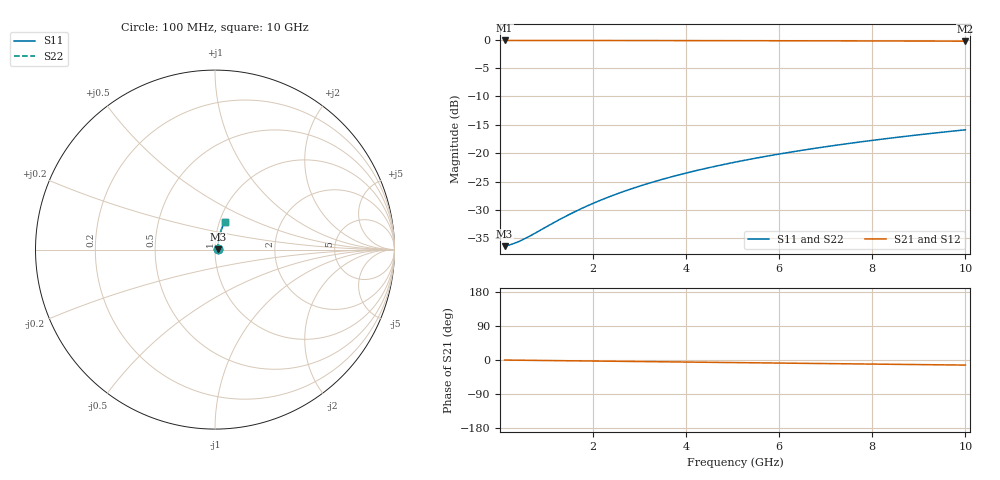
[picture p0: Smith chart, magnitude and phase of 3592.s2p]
# Hz S RI R 50.00
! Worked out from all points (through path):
!   100 points, 100 MHz to 10 GHz, reference 50 ohm
!   highest |S21| = -0.13 dB at 100 MHz (marker M1); lowest = -0.3 dB at 10 GHz (marker M2)
!   group delay of S21, straight-line fit = 3.73 ps
!   lowest |S11| = -36.4 dB at 100 MHz (marker M3), VSWR 1.03, Z = 51.5 + j0.164 ohm
!   |S11| at or under -10 dB: start of sweep to end of sweep
!   |S22| runs from -36.4 to -15.9 dB; largest |S21 - S12| = 0
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1e8  0.0151 0.00159  0.9849 -0.00233  0.9849 -0.00233  0.0151 0.00159
2e8  0.0152 0.00319  0.9848 -0.00466  0.9848 -0.00466  0.0152 0.00319
3e8  0.0153 0.00478  0.9847 -0.00698  0.9847 -0.00698  0.0153 0.00478
5e8  0.0155 0.00796  0.9845 -0.0116  0.9845 -0.0116  0.0155 0.00796
7e8  0.0156 0.0111  0.9843 -0.0163  0.9843 -0.0163  0.0156 0.0111
1.3e9  0.0163 0.0207  0.9837 -0.0302  0.9837 -0.0302  0.0163 0.0207
1.6e9  0.0167 0.0254  0.9833 -0.0372  0.9833 -0.0372  0.0167 0.0254
1.8e9  0.017 0.0286  0.9829 -0.0418  0.9829 -0.0418  0.017 0.0286
2.2e9  0.0176 0.0349  0.9822 -0.0511  0.9822 -0.0511  0.0176 0.0349
2.6e9  0.0184 0.0412  0.9814 -0.0603  0.9814 -0.0603  0.0184 0.0412
3e9  0.0193 0.0475  0.9804 -0.0696  0.9804 -0.0696  0.0193 0.0475
3.4e9  0.0203 0.0538  0.9793 -0.0788  0.9793 -0.0788  0.0203 0.0538
3.8e9  0.0214 0.06  0.9781 -0.0879  0.9781 -0.0879  0.0214 0.06
4.2e9  0.0227 0.0662  0.9768 -0.0971  0.9768 -0.0971  0.0227 0.0662
4.6e9  0.024 0.0724  0.9754 -0.1062  0.9754 -0.1062  0.024 0.0724
5.1e9  0.0259 0.0801  0.9734 -0.1176  0.9734 -0.1176  0.0259 0.0801
5.9e9  0.0292 0.0923  0.9698 -0.1357  0.9698 -0.1357  0.0292 0.0923
6.7e9  0.033 0.1043  0.9657 -0.1536  0.9657 -0.1536  0.033 0.1043
7.5e9  0.0372 0.1161  0.9612 -0.1713  0.9612 -0.1713  0.0372 0.1161
8.4e9  0.0424 0.1292  0.9556 -0.191  0.9556 -0.191  0.0424 0.1292
9.2e9  0.0475 0.1406  0.9501 -0.2083  0.9501 -0.2083  0.0475 0.1406
1e10  0.053 0.1518  0.9442 -0.2254  0.9442 -0.2254  0.053 0.1518
